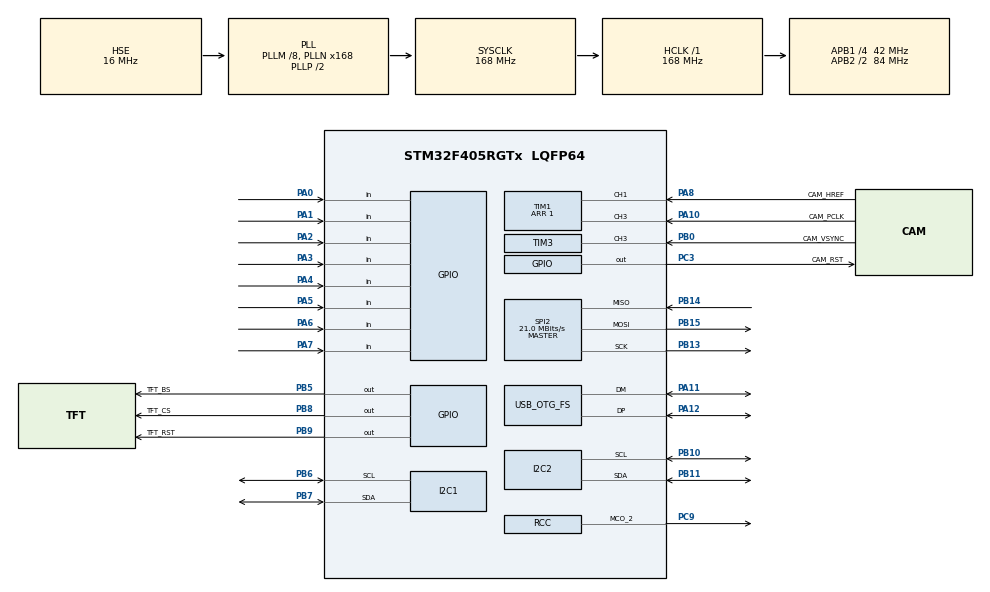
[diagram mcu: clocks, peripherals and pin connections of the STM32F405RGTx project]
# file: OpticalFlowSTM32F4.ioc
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Dma.Request0=TIM1_CH3
Dma.TIM1_CH3.0.Direction=DMA_PERIPH_TO_MEMORY
Dma.TIM1_CH3.0.FIFOMode=DMA_FIFOMODE_DISABLE
Dma.TIM1_CH3.0.Instance=DMA2_Stream6
Dma.TIM1_CH3.0.MemDataAlignment=DMA_MDATAALIGN_BYTE
Dma.TIM1_CH3.0.MemInc=DMA_MINC_ENABLE
Dma.TIM1_CH3.0.Mode=DMA_CIRCULAR
Dma.TIM1_CH3.0.PeriphDataAlignment=DMA_PDATAALIGN_BYTE
Dma.TIM1_CH3.0.PeriphInc=DMA_PINC_DISABLE
Dma.TIM1_CH3.0.Priority=DMA_PRIORITY_VERY_HIGH
I2C2.I2C_Mode=I2C_Fast
Mcu.Family=STM32F4
Mcu.Name=STM32F405RGTx
Mcu.Package=LQFP64
NVIC.DMA2_Stream6_IRQn=true\:0\:0\:false\:false\:true\:false\:true
NVIC.OTG_FS_IRQn=true\:0\:0\:false\:false\:true\:false\:true
NVIC.PriorityGroup=NVIC_PRIORITYGROUP_4
NVIC.SPI2_IRQn=true\:0\:0\:false\:false\:true\:true\:true
NVIC.TIM1_BRK_TIM9_IRQn=true\:0\:0\:false\:false\:true\:true\:true
NVIC.TIM1_CC_IRQn=true\:0\:0\:false\:false\:true\:true\:true
NVIC.TIM3_IRQn=true\:0\:0\:false\:false\:true\:true\:true
PA0-WKUP.Signal=GPIO_Input
PA1.Signal=GPIO_Input
PA10.GPIO_Label=CAM_PCLK
PA10.Signal=S_TIM1_CH3
PA11.Mode=Device_Only
PA11.Signal=USB_OTG_FS_DM
PA12.Mode=Device_Only
PA12.Signal=USB_OTG_FS_DP
PA2.Signal=GPIO_Input
PA3.Signal=GPIO_Input
PA4.Signal=GPIO_Input
PA5.Signal=GPIO_Input
PA6.Signal=GPIO_Input
PA7.Signal=GPIO_Input
PA8.GPIO_Label=CAM_HREF
PA8.Signal=S_TIM1_CH1
PB0.GPIO_Label=CAM_VSYNC
PB0.Signal=S_TIM3_CH3
PB10.Mode=I2C
PB10.Signal=I2C2_SCL
PB11.Mode=I2C
PB11.Signal=I2C2_SDA
PB13.Mode=Full_Duplex_Master
PB13.Signal=SPI2_SCK
PB14.Mode=Full_Duplex_Master
PB14.Signal=SPI2_MISO
PB15.Mode=Full_Duplex_Master
PB15.Signal=SPI2_MOSI
PB5.GPIO_Label=TFT_BS
PB5.Signal=GPIO_Output
PB6.Mode=I2C
PB6.Signal=I2C1_SCL
PB7.Mode=I2C
PB7.Signal=I2C1_SDA
PB8.GPIO_Label=TFT_CS
PB8.Signal=GPIO_Output
PB9.GPIO_Label=TFT_RST
PB9.Signal=GPIO_Output
PC3.GPIO_Label=CAM_RST
PC3.Signal=GPIO_Output
PC9.Mode=Clock-out-2
PC9.Signal=RCC_MCO_2
PH0-OSC_IN.Mode=HSE-External-Oscillator
PH0-OSC_IN.Signal=RCC_OSC_IN
PH1-OSC_OUT.Mode=HSE-External-Oscillator
PH1-OSC_OUT.Signal=RCC_OSC_OUT
ProjectManager.HeapSize=0x200
ProjectManager.StackSize=0x400
ProjectManager.TargetToolchain=STM32CubeIDE
RCC.48MHZClocksFreq_Value=48000000
RCC.AHBFreq_Value=168000000
RCC.APB1CLKDivider=RCC_HCLK_DIV4
RCC.APB1Freq_Value=42000000
RCC.APB1TimFreq_Value=84000000
RCC.APB2CLKDivider=RCC_HCLK_DIV2
RCC.APB2Freq_Value=84000000
RCC.APB2TimFreq_Value=168000000
RCC.CortexFreq_Value=168000000
RCC.HCLKFreq_Value=168000000
RCC.HSE_VALUE=16000000
RCC.HSI_VALUE=16000000
RCC.LSE_VALUE=32768
RCC.PLLI2SR=4
RCC.PLLM=8
RCC.PLLN=168
RCC.PLLQ=7
RCC.RCC_MCO1Source=RCC_MCO1SOURCE_HSE
RCC.RCC_MCO2Source=RCC_MCO2SOURCE_PLLI2SCLK
RCC.RCC_MCODiv2=RCC_MCODIV_4
RCC.SYSCLKFreq_VALUE=168000000
RCC.SYSCLKSource=RCC_SYSCLKSOURCE_PLLCLK
RCC.VCOOutputFreq_Value=336000000
SH.S_TIM1_CH1.0=TIM1_CH1,Input_Capture1_from_TI1
SH.S_TIM1_CH3.0=TIM1_CH3,Input_Capture3_from_TI3
SH.S_TIM3_CH3.0=TIM3_CH3,Input_Capture3_from_TI3
SPI2.BaudRatePrescaler=SPI_BAUDRATEPRESCALER_2
SPI2.CalculateBaudRate=21.0 MBits/s
SPI2.Direction=SPI_DIRECTION_2LINES
SPI2.Mode=SPI_MODE_MASTER
SPI2.VirtualType=VM_MASTER
TIM1.Channel-Input_Capture1_from_TI1=TIM_CHANNEL_1
TIM1.Channel-Input_Capture3_from_TI3=TIM_CHANNEL_3
TIM1.ICPolarity_CH1=TIM_INPUTCHANNELPOLARITY_RISING
TIM1.ICPolarity_CH3=TIM_INPUTCHANNELPOLARITY_RISING
TIM1.ICPrescaler-Input_Capture3_from_TI3=TIM_ICPSC_DIV2
TIM1.Period=1
TIM3.Channel-Input_Capture3_from_TI3=TIM_CHANNEL_3
TIM9.Period=64999
TIM9.Prescaler=167
USB_DEVICE.CLASS_NAME_FS=CDC
USB_DEVICE.VirtualMode-CDC_FS=Cdc
USB_DEVICE.VirtualModeFS=Cdc_FS
USB_OTG_FS.VirtualMode=Device_Only
VP_TIM1_VS_ClockSourceINT.Mode=Internal
VP_TIM3_VS_ClockSourceINT.Mode=Internal
VP_TIM9_VS_ClockSourceINT.Mode=Internal
VP_USB_DEVICE_VS_USB_DEVICE_CDC_FS.Mode=CDC_FS
board=custom

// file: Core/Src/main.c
/* USER CODE BEGIN Header */
/**
  ******************************************************************************
  * @file           : main.c
  * @brief          : Main program body
  ******************************************************************************
  * @attention
  *
  * <h2><center>&copy; Copyright (c) 2021 STMicroelectronics.
  * All rights reserved.</center></h2>
  *
  * This software component is licensed by ST under BSD 3-Clause license,
  * the "License"; You may not use this file except in compliance with the
  * License. You may obtain a copy of the License at:
  *                        opensource.org/licenses/BSD-3-Clause
  *
  ******************************************************************************
  */
/* USER CODE END Header */
#include "main.h"
#include "usb_device.h"

/* USER CODE BEGIN Includes */

#include "usbd_cdc_if.h"
#include "ST7735.h"
#include "GFX_FUNCTIONS.h"
#include "fonts.h"
#include "ov7670.h"
#include "string.h"
#include "stdio.h"
#include "math.h"

/* USER CODE END Includes */

I2C_HandleTypeDef hi2c1;
I2C_HandleTypeDef hi2c2;

SPI_HandleTypeDef hspi2;

TIM_HandleTypeDef htim1;
TIM_HandleTypeDef htim3;
TIM_HandleTypeDef htim9;
DMA_HandleTypeDef hdma_tim1_ch3;

/* USER CODE BEGIN PV */

uint8_t test_print_buffer[100];

uint16_t test_circle_x = 64;
uint16_t test_circle_y = 64;

uint32_t avg_x = 0;
uint32_t avg_y = 0;
uint32_t avg_count = 0;

uint32_t millis_timer_base = 0;

uint32_t display_timer = 0;
uint32_t temp_timer = 0;
int32_t frame_counter = 0;

int32_t last_line = 0;
int32_t graph_x = 0;

/* USER CODE END PV */

void SystemClock_Config(void);
static void MX_GPIO_Init(void);
static void MX_DMA_Init(void);
static void MX_I2C1_Init(void);
static void MX_I2C2_Init(void);
static void MX_SPI2_Init(void);
static void MX_TIM1_Init(void);
static void MX_TIM3_Init(void);
static void MX_TIM9_Init(void);

int main(void)
{

  /* MCU Configuration--------------------------------------------------------*/

  /* Reset of all peripherals, Initializes the Flash interface and the Systick. */
  HAL_Init();

  /* USER CODE BEGIN Init */

  HAL_Delay(500);

  /* USER CODE END Init */

  /* Configure the system clock */
  SystemClock_Config();

  /* Initialize all configured peripherals */
  MX_GPIO_Init();
  MX_DMA_Init();
  MX_I2C1_Init();
  MX_I2C2_Init();
  MX_SPI2_Init();
  MX_TIM1_Init();
  MX_TIM3_Init();
  MX_USB_DEVICE_Init();
  MX_TIM9_Init();
  /* USER CODE BEGIN 2 */
  HAL_TIM_Base_Start_IT(&htim9);
  HAL_GPIO_WritePin(CAM_RST_GPIO_Port, CAM_RST_Pin, GPIO_PIN_RESET);
  HAL_Delay(100);

  ST7735_Init(0);
  fillScreen(BLACK);
  //testAll();
  HAL_GPIO_WritePin(CAM_RST_GPIO_Port, CAM_RST_Pin, GPIO_PIN_SET);
  HAL_Delay(500);
  Camera_Init();
  HAL_Delay(500);
  //sprintf((char *)test_print_buffer, "%s", "testing\n");
  TIM3->DIER = TIM_DIER_CC3IE;
  TIM3->CR1 = TIM_CR1_CEN;

  //Check setRotation to see window order direction

  //CDC_Transmit_FS(test_print_buffer, strlen((char *)test_print_buffer));

  /* USER CODE END 2 */

  /* Infinite loop */
  /* USER CODE BEGIN WHILE */
  while (1)
  {
	  //TIM3->DIER = TIM_DIER_CC3IE;
	  //TIM3->CR1 = TIM_CR1_CEN;

	  while(!frame_captured);
	  frame_counter++;

	  //fillScreen(BLACK);
	  //ST7735_SetRotation(0);
	  //sprintf((char *)temp_data_line, "%hd", ReadRegister(0xA2));
	  //ST7735_WriteString(0, 0, (char *)temp_data_line, Font_11x18, RED,BLACK);
	  //HAL_Delay(100);

	  /*ST7735_Select();

	  ST7735_SetAddressWindow(0, 0, 95, 127);
	  HAL_GPIO_WritePin(DC_PORT, DC_PIN, GPIO_PIN_SET);*/

	  temp_timer = GetMicros();

	  uint8_t *pixel_array;
	  int32_t *x_array;
	  int32_t *y_array;
	  int32_t *x_array_prev;
	  int32_t *y_array_prev;

	  if(which_frame)
	  {
		  pixel_array = temp_data_line;
		  x_array = x_histogram;
		  y_array = y_histogram;
		  x_array_prev = x_histogram_prev;
		  y_array_prev = y_histogram_prev;
	  }
	  else
	  {
		  pixel_array = temp_data_line2;
		  x_array = x_histogram_prev;
		  y_array = y_histogram_prev;
		  x_array_prev = x_histogram;
		  y_array_prev = y_histogram;
	  }

	  x_array[0] = 0;
	  y_array[0] = 0;
	  x_array[127] = 0;
	  y_array[95] = 0;

	  x_array_prev[0] = 0;
	  y_array_prev[0] = 0;
	  x_array_prev[127] = 0;
	  y_array_prev[95] = 0;

	  int32_t sobel_sum_x = 0;
	  int32_t sobel_sum_y = 0;

	  for(uint32_t i = 2; i < 254; i+=2)
	  {
		  x_array[i / 2] = 0;
		  //y_array[i] = 0;

		  for(uint32_t j = 0; j < 96; j++)
		  {
			  //uint16_t color_to_send = (uint16_t)((RED & (uint16_t)((uint16_t)temp_data_line[i+1 + (j * 256)] << 8))/* | (GREEN & (uint16_t)((uint16_t)temp_data_line[i + (j * 256)] << 5)) | (BLUE & (uint16_t)temp_data_line[i + (j * 256)])*/);
			  //uint16_t color_to_send = ((((uint16_t)temp_data_line[i + (j * 256)]) << 8)) | (((uint16_t)temp_data_line[i+1 + (j * 256)]));
			  //uint16_t color_to_send2 = ((color_to_send & RED) >> 11) | ((color_to_send & BLUE) << 11) | (color_to_send & GREEN);
			  //uint16_t color_to_send2 = color_to_send;//temp_data_line[i + (j * 256)] & BLUE;

			  //uint8_t intensity = pixel_array[i+1 + (j * 256)];

			  //uint8_t intensity = GetPixelIntensity(i, j);
			  //uint8_t last_intensity = ((temp_data_line[i+1 + (j * 256)]) & ~which_frame) + ((temp_data_line2[i+1 + (j * 256)]) & which_frame);

			  sobel_sum_x = 0;
			  //int16_t sobel_sum_y = 0;
			  //int16_t kernel[] = {-1, 0, 1};

			  //int32_t x_index = i + i + 1;
			  //int32_t y_index = (j * 256);

			  sobel_sum_x -= pixel_array[i - 1 + (j * 256)];
			  //sobel_sum_x += (0) * pixel_array[i + 1 + c + (j * 256)];
			  sobel_sum_x += pixel_array[i + 3 + (j * 256)];

			  /*for(int32_t c = -1; c < 2; c++)
			  {

				  sobel_sum_x += (c) * pixel_array[i + 1 + c + (j * 256)];// * (((temp_data_line[x_index+c + y_index]) & which_frame_byte) + ((temp_data_line2[x_index+c + y_index]) & ~which_frame_byte));
				  //sobel_sum_y += (c) * pixel_array[x_index + ((j + c) * 256)];// * (((temp_data_line[x_index + (y_index + c)]) & which_frame_byte) + ((temp_data_line2[x_index + (y_index+c)]) & ~which_frame_byte));
			  }*/

			  sobel_sum_x = abs(sobel_sum_x);
			  //sobel_sum_y = abs(sobel_sum_y);

			  //intensity = 0x00;

			  if(sobel_sum_x > 60)
			  {
				  x_array[i / 2] += sobel_sum_x;
				  //intensity = 0xFF;
			  }

			  //if(sobel_sum_y > 80)
			  //{
			//	  y_array[i] += sobel_sum_y;
			  //}

			  //intensity = pow();
			  //if(sqrt((sorbel_sum_x * sorbel_sum_x) + (sorbel_sum_y * sorbel_sum_y)) > 80)
			  //if((sorbel_sum_x | sorbel_sum_y) > 100)
			  //{
		//		  intensity = 0xFF;
			 // }
			  //else
				//  intensity = (sorbel_sum_x | sorbel_sum_y);

			  //uint32_t magnitude = (((i / 2) - test_circle_x) * ((i / 2) - test_circle_x)) + (j - test_circle_y)*(j - test_circle_y);
			  //if(magnitude > 34 && magnitude < 50)
				//  intensity = 0xFF;

			 /* if(((int32_t)intensity - (int32_t)last_intensity) * ((int32_t)intensity - (int32_t)last_intensity) > 8000)
			  {
				  intensity = 0xFF;
			  }
			  else
				  intensity = 0x00;

			  if((uint32_t)intensity * (uint32_t)intensity > 27000)
			  {
				  avg_x += i / 2;
				  avg_y += j;
				  avg_count++;
			  }*/

			  //uint8_t red_channel = intensity;
			  //uint8_t green_channel = intensity;
			  //uint8_t blue_channel = intensity;

			  /*if(i % 4 == 0)
			  {
				  red_channel += 1.402 * (float)((temp_data_line[i+2 + (j * 256)]) - 128);
				  green_channel -= 0.34414 * (float)((temp_data_line[i + (j * 256)]) - 128);
				  green_channel -= 0.71414 * (float)((temp_data_line[i+2 + (j * 256)]) - 128);
				  blue_channel += 1.772 * (float)((temp_data_line[i + (j * 256)]) - 128);
			  }
			  else
			  {
				  red_channel += 1.402 * (float)((temp_data_line[i + (j * 256)]) - 128);
				  green_channel -= 0.34414 * (float)((temp_data_line[i+2 + (j * 256)]) - 128);
				  green_channel -= 0.71414 * (float)((temp_data_line[i + (j * 256)]) - 128);
				  blue_channel += 1.772 * (float)((temp_data_line[i+2 + (j * 256)]) - 128);
			  }*/

			  //uint16_t color_to_send2 = ((red_channel & 0xF8) << 8) | ((green_channel & 0xFC) << 3) | ((blue_channel & 0xF8) >> 3);
			  //uint8_t data[] = { color_to_send2 >> 8, color_to_send2 & 0xFF };

			  //uint8_t data[] = { 0x00, ((temp_data_line[i + (j * 256)]) & BLUE) };
			  //ST7735_WriteData(data, sizeof(data));

			  //HAL_SPI_Transmit(&ST7735_SPI_PORT, data, sizeof(data), HAL_MAX_DELAY);

			  //ST7735_DrawPixel(i, (uint16_t)j, color_to_send);

			  //drawLine(i, 0, i, 20, color_to_send);
			  //HAL_Delay(5);
		  }
	  }

	  /*for(uint32_t j = 1; j < 95; j++)
	  {
		  y_array[j] = 0;

		  for(uint32_t i = 0; i < 128; i++)
		  {
			  sobel_sum_y = 0;

			  sobel_sum_y -= pixel_array[(i*2) + 1 + ((j - 1) * 256)];
			  sobel_sum_y += pixel_array[(i*2) + 1 + ((j + 1) * 256)];

			  //sobel_sum_y = abs(sobel_sum_y);

			  if(sobel_sum_y > 80 || sobel_sum_y < -80)
			  {
				  y_array[j] += sobel_sum_y;
			  }
		  }
	  }*/

	  int32_t average_displacement_x = 0;

	  int32_t temp_displacement_x[200];
	  int32_t temp_displacement_y[200];
	  uint32_t SAD_temp[21];
	  int32_t border[2];

	  border[0] = 19;
	  border[1] = 108;

	  //memset(temp_displacement_x, 0, 4*21);
	  //memset(temp_displacement_y, 0, 4*21);
	  //memset(SAD_temp, 0, 4*21);

	  for(int32_t x = border[0]; x < border[1]; x++)
	  {
		  temp_displacement_x[x] = 0;
		  //memset(SAD_temp, 0, 4*21);

		  for(int32_t c = -10; c <= 10; c++)
		  {
			  SAD_temp[c + 10] = 0;

			  for(int32_t r = -9; r <= 9; r++)
			  {
				  SAD_temp[c + 10] += abs(x_array[x+r] - x_array_prev[x+r+c]);
			  }
		  }

		  /*uint32_t i;
		  uint32_t min_ind = 0;
		  uint32_t min_err = SAD_temp[min_ind];
		  uint32_t min_err_tot = 0;
		  for (i = 1; i < 21; i++)
		  {
			  if (SAD_temp[i] <= min_err)
			  {
				  min_ind = i;
				  min_err = SAD_temp[i];
				  min_err_tot += min_err;
			  }
		  }*/

		  temp_displacement_x[x] = (int32_t)getMinimum(SAD_temp, 21) - 10;
		  average_displacement_x += temp_displacement_x[x];
	  }

	  average_displacement_x /= (border[1] - border[0]);

	  border[0] = 28;
	  border[1] = 68;

	  //memset(SAD_temp, 0, 4*21);

	  /*for(int32_t x = border[0]; x < border[1]; x++)
	  {
		  temp_displacement_y[x] = 0;
		  //memset(SAD_temp, 0, 4*21);

		  for(int32_t c = -10; c <= 10; c++)
		  {
			  SAD_temp[c + 10] = 0;

			  for(int32_t r = -9; r <= 9; r++)
			  {
				  SAD_temp[c + 10] += abs(y_array[x+r] - y_array_prev[x+r+c]);
			  }
		  }

		  temp_displacement_y[x] = (int32_t)getMinimum(SAD_temp, 21) - 10;
	  }*/

	  uint32_t timer_difference = GetMicrosDifference(&temp_timer);

	  if(GetMillisDifference(&display_timer) >= 100)
	  {
		  display_timer = GetMillis();

		  /*ST7735_Select();
		  ST7735_SetAddressWindow(0, 0, 10, 127);
		  HAL_GPIO_WritePin(DC_PORT, DC_PIN, GPIO_PIN_SET);

		  for(int x = 0; x < 10; x++)
		  {
			  for(int y = 0; y < 10; y++)
			  {
				  uint8_t data[] = { 0x00, 0x00 };

				  HAL_SPI_Transmit(&ST7735_SPI_PORT, data, sizeof(data), HAL_MAX_DELAY);
			  }
		  }

		  if(frame_counter > 30)
		  {
			  ST7735_SetAddressWindow(0, 0, 10, 127);
			  HAL_GPIO_WritePin(DC_PORT, DC_PIN, GPIO_PIN_SET);
			  for(int x = 0; x < 10; x++)
			  {
				  for(int y = 0; y < 10; y++)
				  {
					  uint8_t data[] = { 0xFF, 0xFF };

					  HAL_SPI_Transmit(&ST7735_SPI_PORT, data, sizeof(data), HAL_MAX_DELAY);
				  }
			  }
		  }

		  ST7735_Unselect();*/

		  drawLine(graph_x, last_line + 64, graph_x + 1, (average_displacement_x * 3) + 64, 0xFFFF);
		  last_line = average_displacement_x * 3;

		  graph_x++;

		  if(graph_x == 127)
		  {
			  graph_x = 0;
			  fillScreen(BLACK);
		  }

		  //fillScreen(BLACK);
		  //ST7735_SetRotation(0);
		  //sprintf((char *)temp_data_line, "%ld", temp_displacement_x[40]);
		  //ST7735_WriteString(0, 0, (char *)temp_data_line, Font_11x18, RED,BLACK);

		  frame_counter = 0;
	  }

	  //ST7735_Unselect();

	  frame_captured = 0;

	  /*uint16_t temp_color = 0x4F7F;
	  uint8_t data2[] = { temp_color >> 8, temp_color & 0xFF };

	  test_circle_x = avg_x / avg_count;
	  test_circle_y = avg_y / avg_count;

	  ST7735_SetAddressWindow(test_circle_x - 4, test_circle_y - 4, test_circle_x + 4, test_circle_y + 4);
	  HAL_GPIO_WritePin(DC_PORT, DC_PIN, GPIO_PIN_SET);
	  for(int x = 0; x < 8; x++)
	  {
		  for(int y = 0; y < 8; y++)
		  {
			  HAL_SPI_Transmit(&ST7735_SPI_PORT, data2, sizeof(data2), HAL_MAX_DELAY);
		  }
	  }

	  avg_x = 0;
	  avg_y = 0;
	  avg_count = 0;*/

	  //ST7735_Unselect();

	  //CDC_Transmit_FS(temp_data_line, 128*128*2);
	  //HAL_Delay(50);

    /* USER CODE END WHILE */

  }
}

void SystemClock_Config(void)
{
  RCC_OscInitTypeDef RCC_OscInitStruct = {0};
  RCC_ClkInitTypeDef RCC_ClkInitStruct = {0};
  RCC_PeriphCLKInitTypeDef PeriphClkInitStruct = {0};

  /** Configure the main internal regulator output voltage
  */
  __HAL_RCC_PWR_CLK_ENABLE();
  __HAL_PWR_VOLTAGESCALING_CONFIG(PWR_REGULATOR_VOLTAGE_SCALE1);
  /** Initializes the RCC Oscillators according to the specified parameters
  * in the RCC_OscInitTypeDef structure.
  */
  RCC_OscInitStruct.OscillatorType = RCC_OSCILLATORTYPE_HSE;
  RCC_OscInitStruct.HSEState = RCC_HSE_ON;
  RCC_OscInitStruct.PLL.PLLState = RCC_PLL_ON;
  RCC_OscInitStruct.PLL.PLLSource = RCC_PLLSOURCE_HSE;
  RCC_OscInitStruct.PLL.PLLM = 8;
  RCC_OscInitStruct.PLL.PLLN = 168;
  RCC_OscInitStruct.PLL.PLLP = RCC_PLLP_DIV2;
  RCC_OscInitStruct.PLL.PLLQ = 7;
  if (HAL_RCC_OscConfig(&RCC_OscInitStruct) != HAL_OK)
  {
    Error_Handler();
  }
  /** Initializes the CPU, AHB and APB buses clocks
  */
  RCC_ClkInitStruct.ClockType = RCC_CLOCKTYPE_HCLK|RCC_CLOCKTYPE_SYSCLK
                              |RCC_CLOCKTYPE_PCLK1|RCC_CLOCKTYPE_PCLK2;
  RCC_ClkInitStruct.SYSCLKSource = RCC_SYSCLKSOURCE_PLLCLK;
  RCC_ClkInitStruct.AHBCLKDivider = RCC_SYSCLK_DIV1;
  RCC_ClkInitStruct.APB1CLKDivider = RCC_HCLK_DIV4;
  RCC_ClkInitStruct.APB2CLKDivider = RCC_HCLK_DIV2;

  if (HAL_RCC_ClockConfig(&RCC_ClkInitStruct, FLASH_LATENCY_5) != HAL_OK)
  {
    Error_Handler();
  }
  PeriphClkInitStruct.PeriphClockSelection = RCC_PERIPHCLK_I2S;
  PeriphClkInitStruct.PLLI2S.PLLI2SN = 192;
  PeriphClkInitStruct.PLLI2S.PLLI2SR = 4;
  if (HAL_RCCEx_PeriphCLKConfig(&PeriphClkInitStruct) != HAL_OK)
  {
    Error_Handler();
  }
  HAL_RCC_MCOConfig(RCC_MCO2, RCC_MCO2SOURCE_PLLI2SCLK, RCC_MCODIV_4);
}

static void MX_I2C1_Init(void)
{

  hi2c1.Instance = I2C1;
  hi2c1.Init.ClockSpeed = 100000;
  hi2c1.Init.DutyCycle = I2C_DUTYCYCLE_2;
  hi2c1.Init.OwnAddress1 = 0;
  hi2c1.Init.AddressingMode = I2C_ADDRESSINGMODE_7BIT;
  hi2c1.Init.DualAddressMode = I2C_DUALADDRESS_DISABLE;
  hi2c1.Init.OwnAddress2 = 0;
  hi2c1.Init.GeneralCallMode = I2C_GENERALCALL_DISABLE;
  hi2c1.Init.NoStretchMode = I2C_NOSTRETCH_DISABLE;
  if (HAL_I2C_Init(&hi2c1) != HAL_OK)
  {
    Error_Handler();
  }

}

static void MX_I2C2_Init(void)
{

  hi2c2.Instance = I2C2;
  hi2c2.Init.ClockSpeed = 400000;
  hi2c2.Init.DutyCycle = I2C_DUTYCYCLE_2;
  hi2c2.Init.OwnAddress1 = 0;
  hi2c2.Init.AddressingMode = I2C_ADDRESSINGMODE_7BIT;
  hi2c2.Init.DualAddressMode = I2C_DUALADDRESS_DISABLE;
  hi2c2.Init.OwnAddress2 = 0;
  hi2c2.Init.GeneralCallMode = I2C_GENERALCALL_DISABLE;
  hi2c2.Init.NoStretchMode = I2C_NOSTRETCH_DISABLE;
  if (HAL_I2C_Init(&hi2c2) != HAL_OK)
  {
    Error_Handler();
  }

}

static void MX_SPI2_Init(void)
{

  /* SPI2 parameter configuration*/
  hspi2.Instance = SPI2;
  hspi2.Init.Mode = SPI_MODE_MASTER;
  hspi2.Init.Direction = SPI_DIRECTION_2LINES;
  hspi2.Init.DataSize = SPI_DATASIZE_8BIT;
  hspi2.Init.CLKPolarity = SPI_POLARITY_LOW;
  hspi2.Init.CLKPhase = SPI_PHASE_1EDGE;
  hspi2.Init.NSS = SPI_NSS_SOFT;
  hspi2.Init.BaudRatePrescaler = SPI_BAUDRATEPRESCALER_2;
  hspi2.Init.FirstBit = SPI_FIRSTBIT_MSB;
  hspi2.Init.TIMode = SPI_TIMODE_DISABLE;
  hspi2.Init.CRCCalculation = SPI_CRCCALCULATION_DISABLE;
  hspi2.Init.CRCPolynomial = 10;
  if (HAL_SPI_Init(&hspi2) != HAL_OK)
  {
    Error_Handler();
  }

}

static void MX_TIM1_Init(void)
{

  TIM_ClockConfigTypeDef sClockSourceConfig = {0};
  TIM_MasterConfigTypeDef sMasterConfig = {0};
  TIM_IC_InitTypeDef sConfigIC = {0};

  htim1.Instance = TIM1;
  htim1.Init.Prescaler = 0;
  htim1.Init.CounterMode = TIM_COUNTERMODE_UP;
  htim1.Init.Period = 1;
  htim1.Init.ClockDivision = TIM_CLOCKDIVISION_DIV1;
  htim1.Init.RepetitionCounter = 0;
  htim1.Init.AutoReloadPreload = TIM_AUTORELOAD_PRELOAD_DISABLE;
  if (HAL_TIM_Base_Init(&htim1) != HAL_OK)
  {
    Error_Handler();
  }
  sClockSourceConfig.ClockSource = TIM_CLOCKSOURCE_INTERNAL;
  if (HAL_TIM_ConfigClockSource(&htim1, &sClockSourceConfig) != HAL_OK)
  {
    Error_Handler();
  }
  if (HAL_TIM_IC_Init(&htim1) != HAL_OK)
  {
    Error_Handler();
  }
  sMasterConfig.MasterOutputTrigger = TIM_TRGO_RESET;
  sMasterConfig.MasterSlaveMode = TIM_MASTERSLAVEMODE_DISABLE;
  if (HAL_TIMEx_MasterConfigSynchronization(&htim1, &sMasterConfig) != HAL_OK)
  {
    Error_Handler();
  }
  sConfigIC.ICPolarity = TIM_INPUTCHANNELPOLARITY_RISING;
  sConfigIC.ICSelection = TIM_ICSELECTION_DIRECTTI;
  sConfigIC.ICPrescaler = TIM_ICPSC_DIV1;
  sConfigIC.ICFilter = 0;
  if (HAL_TIM_IC_ConfigChannel(&htim1, &sConfigIC, TIM_CHANNEL_1) != HAL_OK)
  {
    Error_Handler();
  }
  sConfigIC.ICPrescaler = TIM_ICPSC_DIV2;
  if (HAL_TIM_IC_ConfigChannel(&htim1, &sConfigIC, TIM_CHANNEL_3) != HAL_OK)
  {
    Error_Handler();
  }

}

static void MX_TIM3_Init(void)
{

  TIM_ClockConfigTypeDef sClockSourceConfig = {0};
  TIM_MasterConfigTypeDef sMasterConfig = {0};
  TIM_IC_InitTypeDef sConfigIC = {0};

  htim3.Instance = TIM3;
  htim3.Init.Prescaler = 0;
  htim3.Init.CounterMode = TIM_COUNTERMODE_UP;
  htim3.Init.Period = 65535;
  htim3.Init.ClockDivision = TIM_CLOCKDIVISION_DIV1;
  htim3.Init.AutoReloadPreload = TIM_AUTORELOAD_PRELOAD_DISABLE;
  if (HAL_TIM_Base_Init(&htim3) != HAL_OK)
  {
    Error_Handler();
  }
  sClockSourceConfig.ClockSource = TIM_CLOCKSOURCE_INTERNAL;
  if (HAL_TIM_ConfigClockSource(&htim3, &sClockSourceConfig) != HAL_OK)
  {
    Error_Handler();
  }
  if (HAL_TIM_IC_Init(&htim3) != HAL_OK)
  {
    Error_Handler();
  }
  sMasterConfig.MasterOutputTrigger = TIM_TRGO_RESET;
  sMasterConfig.MasterSlaveMode = TIM_MASTERSLAVEMODE_DISABLE;
  if (HAL_TIMEx_MasterConfigSynchronization(&htim3, &sMasterConfig) != HAL_OK)
  {
    Error_Handler();
  }
  sConfigIC.ICPolarity = TIM_INPUTCHANNELPOLARITY_RISING;
  sConfigIC.ICSelection = TIM_ICSELECTION_DIRECTTI;
  sConfigIC.ICPrescaler = TIM_ICPSC_DIV1;
  sConfigIC.ICFilter = 0;
  if (HAL_TIM_IC_ConfigChannel(&htim3, &sConfigIC, TIM_CHANNEL_3) != HAL_OK)
  {
    Error_Handler();
  }

}

static void MX_TIM9_Init(void)
{

  TIM_ClockConfigTypeDef sClockSourceConfig = {0};

  htim9.Instance = TIM9;
  htim9.Init.Prescaler = 167;
  htim9.Init.CounterMode = TIM_COUNTERMODE_UP;
  htim9.Init.Period = 64999;
  htim9.Init.ClockDivision = TIM_CLOCKDIVISION_DIV1;
  htim9.Init.AutoReloadPreload = TIM_AUTORELOAD_PRELOAD_DISABLE;
  if (HAL_TIM_Base_Init(&htim9) != HAL_OK)
  {
    Error_Handler();
  }
  sClockSourceConfig.ClockSource = TIM_CLOCKSOURCE_INTERNAL;
  if (HAL_TIM_ConfigClockSource(&htim9, &sClockSourceConfig) != HAL_OK)
  {
    Error_Handler();
  }

}

static void MX_DMA_Init(void)
{

  /* DMA controller clock enable */
  __HAL_RCC_DMA2_CLK_ENABLE();

  /* DMA interrupt init */
  /* DMA2_Stream6_IRQn interrupt configuration */
  HAL_NVIC_SetPriority(DMA2_Stream6_IRQn, 0, 0);
  HAL_NVIC_EnableIRQ(DMA2_Stream6_IRQn);

}

static void MX_GPIO_Init(void)
{
  GPIO_InitTypeDef GPIO_InitStruct = {0};

  /* GPIO Ports Clock Enable */
  __HAL_RCC_GPIOH_CLK_ENABLE();
  __HAL_RCC_GPIOC_CLK_ENABLE();
  __HAL_RCC_GPIOA_CLK_ENABLE();
  __HAL_RCC_GPIOB_CLK_ENABLE();

  /*Configure GPIO pin Output Level */
  HAL_GPIO_WritePin(CAM_RST_GPIO_Port, CAM_RST_Pin, GPIO_PIN_RESET);

  /*Configure GPIO pin Output Level */
  HAL_GPIO_WritePin(GPIOB, TFT_BS_Pin|TFT_CS_Pin|TFT_RST_Pin, GPIO_PIN_RESET);

  /*Configure GPIO pin : CAM_RST_Pin */
  GPIO_InitStruct.Pin = CAM_RST_Pin;
  GPIO_InitStruct.Mode = GPIO_MODE_OUTPUT_PP;
  GPIO_InitStruct.Pull = GPIO_NOPULL;
  GPIO_InitStruct.Speed = GPIO_SPEED_FREQ_LOW;
  HAL_GPIO_Init(CAM_RST_GPIO_Port, &GPIO_InitStruct);

  /*Configure GPIO pins : PA0 PA1 PA2 PA3
                           PA4 PA5 PA6 PA7 */
  GPIO_InitStruct.Pin = GPIO_PIN_0|GPIO_PIN_1|GPIO_PIN_2|GPIO_PIN_3
                          |GPIO_PIN_4|GPIO_PIN_5|GPIO_PIN_6|GPIO_PIN_7;
  GPIO_InitStruct.Mode = GPIO_MODE_INPUT;
  GPIO_InitStruct.Pull = GPIO_NOPULL;
  HAL_GPIO_Init(GPIOA, &GPIO_InitStruct);

  /*Configure GPIO pin : PC9 */
  GPIO_InitStruct.Pin = GPIO_PIN_9;
  GPIO_InitStruct.Mode = GPIO_MODE_AF_PP;
  GPIO_InitStruct.Pull = GPIO_NOPULL;
  GPIO_InitStruct.Speed = GPIO_SPEED_FREQ_LOW;
  GPIO_InitStruct.Alternate = GPIO_AF0_MCO;
  HAL_GPIO_Init(GPIOC, &GPIO_InitStruct);

  /*Configure GPIO pins : TFT_BS_Pin TFT_CS_Pin TFT_RST_Pin */
  GPIO_InitStruct.Pin = TFT_BS_Pin|TFT_CS_Pin|TFT_RST_Pin;
  GPIO_InitStruct.Mode = GPIO_MODE_OUTPUT_PP;
  GPIO_InitStruct.Pull = GPIO_NOPULL;
  GPIO_InitStruct.Speed = GPIO_SPEED_FREQ_LOW;
  HAL_GPIO_Init(GPIOB, &GPIO_InitStruct);

}

/* USER CODE BEGIN 4 */

void HAL_TIM_PeriodElapsedCallback(TIM_HandleTypeDef *htim)
{
	if(htim == &htim9)
	{
		//micros_timer_base += 65000;//65536;
		millis_timer_base += 65;//Overflow doesn't matter unless board is running for more than 49 days
	}
}

uint32_t GetMicros()
{
	//return micros_timer_base + __HAL_TIM_GET_COUNTER(&htim4);
	return __HAL_TIM_GET_COUNTER(&htim9);
}

uint32_t GetMillis()
{
	return millis_timer_base + (GetMicros() / 1000);
}

uint32_t GetMillisDifference(uint32_t *timer_counter_to_use)
{
	return GetMillis() - *timer_counter_to_use;
}

uint32_t GetMicrosDifference(uint32_t *timer_counter_to_use)
{
	uint32_t current_micros = GetMicros();
	uint32_t micros_difference = 0;

	if(current_micros > *timer_counter_to_use)
	{
		micros_difference = current_micros - *timer_counter_to_use;
	}
	else if(current_micros < *timer_counter_to_use)
	{
		micros_difference = 65000 + current_micros - *timer_counter_to_use;
	}

	return micros_difference;
}

/* USER CODE END 4 */

void Error_Handler(void)
{
}

/************************ (C) COPYRIGHT STMicroelectronics *****END OF FILE****/
